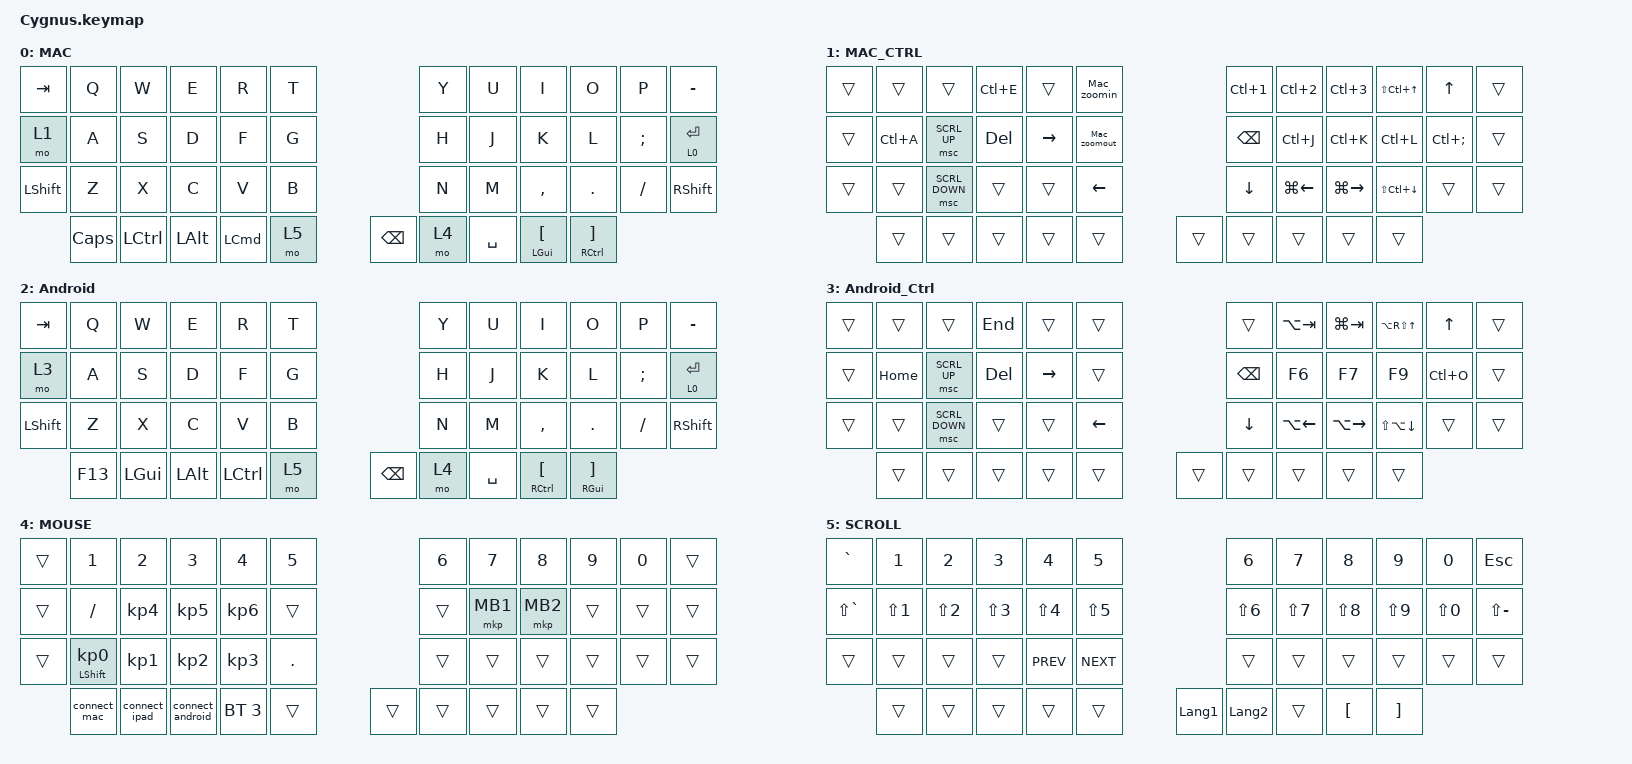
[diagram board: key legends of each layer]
#include <behaviors.dtsi>
#include <dt-bindings/zmk/bt.h>
#include <dt-bindings/zmk/keys.h>
#include <dt-bindings/zmk/pointing.h>

#define ZMK_POINTING_DEFAULT_SCRL_VAL 120

&mt {
    flavor = "balanced";
    quick-tap-ms = <0>;
};

/ {
    combos {
        compatible = "zmk,combos";

        tab {
            bindings = <&kp TAB>;
            key-positions = <11 12>;
        };

        shift_tab {
            bindings = <&kp LS(TAB)>;
            key-positions = <12 13>;
        };
    };

    behaviors {
        ROTATE: ROTATE {
            compatible = "zmk,behavior-sensor-rotate-var";
            label = "ROTATE";
            #sensor-binding-cells = <2>;
            bindings = <&msc>, <&msc>;
            tap-ms = <20>;
        };
    };

    macros {
        to_layer_0: to_layer_0 {
            compatible = "zmk,behavior-macro-one-param";
            #binding-cells = <1>;
            bindings = <&to 0 &macro_param_1to1 &kp MACRO_PLACEHOLDER>;
            label = "TO_LAYER_0";
        };

        new_macro: new_macro {
            compatible = "zmk,behavior-macro";
            #binding-cells = <0>;
            bindings = <&kp O &kp R &kp A &kp O &kp R &kp A &kp O &kp R &kp A &kp O &kp R &kp A &kp NUMBER_4 &kp ENTER>;
            label = "NEW_MACRO";
        };

        Mac_zoomin: zoom {
            compatible = "zmk,behavior-macro";
            #binding-cells = <0>;
            bindings = <&kt LEFT_GUI &msc SCRL_DOWN &kt LEFT_GUI>;
            label = "ZOOM";
        };

        Mac_zoomout: Mac_zoomout {
            compatible = "zmk,behavior-macro";
            #binding-cells = <0>;
            bindings = <&kp LEFT_GUI &msc SCRL_UP &kt LEFT_GUI>;
            label = "MAC_ZOOMOUT";
        };

        connect_mac: connect_mac {
            compatible = "zmk,behavior-macro";
            #binding-cells = <0>;
            bindings = <&to 0 &bt BT_SEL 0>;
            label = "CONNECT_MAC";
        };

        connect_ipad: connect_ipad {
            compatible = "zmk,behavior-macro";
            #binding-cells = <0>;
            bindings = <&to 0 &bt BT_SEL 1>;
            label = "CONNECT_IPAD";
        };

        connect_android: connect_android {
            compatible = "zmk,behavior-macro";
            #binding-cells = <0>;
            bindings = <&to 2 &bt BT_SEL 2>;
            label = "CONNECT_ANDROID";
        };
    };

    keymap {
        compatible = "zmk,keymap";

        MAC {
            bindings = <
&kp TAB       &kp Q             &kp W     &kp E     &kp R  &kp T                                                 &kp Y      &kp U  &kp I      &kp O    &kp P                  &kp MINUS
&mo 1         &kp A             &kp S     &kp D     &kp F  &kp G                                                 &kp H      &kp J  &kp K      &kp L    &kp SEMICOLON          &lt 0 ENTER
&kp LSHFT     &kp Z             &kp X     &kp C     &kp V  &kp B                                                 &kp N      &kp M  &kp COMMA  &kp DOT  &kp FSLH               &kp RSHFT
              &kp CAPSLOCK  &kp LEFT_CONTROL  &kp LALT  &kp LEFT_COMMAND  &mo 5     &kp BACKSPACE  &mo 4  &kp SPACE  &mt LEFT_GUI LEFT_BRACKET  &mt RCTRL RIGHT_BRACKET
            >;
        };

        MAC_CTRL {
            bindings = <
&trans  &trans     &trans          &kp LC(E)   &trans     &Mac_zoomin                                     &kp LC(NUMBER_1)  &kp LC(NUMBER_2)    &kp LC(NUMBER_3)  &kp LS(LC(UP_ARROW))  &kp UP_ARROW       &trans
&trans  &kp LC(A)  &msc SCRL_UP    &kp DELETE  &kp RIGHT  &Mac_zoomout                                    &kp BACKSPACE     &kp LC(J)           &kp LC(K)         &kp LC(L)             &kp LC(SEMICOLON)  &trans
&trans  &trans     &msc SCRL_DOWN  &trans      &trans     &kp LEFT_ARROW                                  &kp DOWN_ARROW    &kp LG(LEFT_ARROW)  &kp LG(RIGHT)     &kp LS(LC(DOWN))      &trans             &trans
        &trans     &trans          &trans      &trans     &trans        &trans  &trans  &trans  &trans  &trans
            >;
        };

        Android {
            bindings = <
&kp TAB    &kp Q         &kp W     &kp E      &kp R  &kp T                                             &kp Y      &kp U  &kp I      &kp O    &kp P           &kp MINUS
&mo 3      &kp A         &kp S     &kp D      &kp F  &kp G                                             &kp H      &kp J  &kp K      &kp L    &kp SEMI        &lt 0 ENTER
&kp LSHFT  &kp Z         &kp X     &kp C      &kp V  &kp B                                             &kp N      &kp M  &kp COMMA  &kp DOT  &kp FSLH        &kp RSHFT
           &kp F13  &kp LEFT_GUI  &kp LALT  &kp LCTRL  &mo 5     &kp BACKSPACE  &mo 4  &kp SPACE  &mt RCTRL LBKT  &mt RIGHT_GUI RBKT
            >;
        };

        Android_Ctrl {
            bindings = <
&trans  &trans    &trans          &kp END     &trans     &trans                                                   &trans          &kp LA(TAB)         &kp LG(TAB)    &kp LA(RS(UP_ARROW))    &kp UP_ARROW  &trans
&trans  &kp HOME  &msc SCRL_UP    &kp DELETE  &kp RIGHT  &trans                                                   &kp BACKSPACE   &kp F6              &kp F7         &kp F9                  &kp LC(O)     &trans
&trans  &trans    &msc SCRL_DOWN  &trans      &trans     &kp LEFT_ARROW                                           &kp DOWN_ARROW  &kp LA(LEFT_ARROW)  &kp LA(RIGHT)  &kp LS(LA(DOWN_ARROW))  &trans        &trans
        &trans    &trans          &trans      &trans     &trans          &trans  &trans  &trans  &trans  &trans
            >;
        };

        MOUSE {
            bindings = <
&trans        &kp NUMBER_1                &kp NUMBER_2      &kp NUMBER_3     &kp NUMBER_4     &kp NUMBER_5                                        &kp NUMBER_6  &kp NUMBER_7  &kp NUMBER_8  &kp NUMBER_9  &kp NUMBER_0  &trans
&trans        &kp SLASH                   &kp KP_NUMBER_4   &kp KP_NUMBER_5  &kp KP_NUMBER_6  &trans                                              &trans        &mkp MB1      &mkp MB2      &trans        &trans        &trans
&trans        &mt LEFT_SHIFT KP_NUMBER_0  &kp KP_NUMBER_1   &kp KP_NUMBER_2  &kp KP_NUMBER_3  &kp PERIOD                                          &trans        &trans        &trans        &trans        &trans        &trans
              &connect_mac                &connect_ipad     &connect_android  &bt BT_SEL 3     &trans        &trans  &trans  &trans  &trans  &trans
            >;
        };

        SCROLL {
            bindings = <
&kp GRAVE      &kp NUMBER_1      &kp NUMBER_2      &kp NUMBER_3      &kp NUMBER_4      &kp NUMBER_5                                                              &kp NUMBER_6      &kp NUMBER_7      &kp NUMBER_8      &kp NUMBER_9      &kp NUMBER_0      &kp ESCAPE
&kp LS(GRAVE)  &kp LS(NUMBER_1)  &kp LS(NUMBER_2)  &kp LS(NUMBER_3)  &kp LS(NUMBER_4)  &kp LS(NUMBER_5)                                                          &kp LS(NUMBER_6)  &kp LS(NUMBER_7)  &kp LS(NUMBER_8)  &kp LS(NUMBER_9)  &kp LS(NUMBER_0)  &kp LS(MINUS)
&trans         &trans            &trans            &trans            &kp C_PREV        &kp C_NEXT                                                                &trans            &trans            &trans            &trans            &trans            &trans
               &trans            &trans            &trans            &trans            &trans            &kp LANGUAGE_1  &kp LANGUAGE_2  &trans  &kp LEFT_BRACKET  &kp RIGHT_BRACKET
            >;
        };
    };
};
